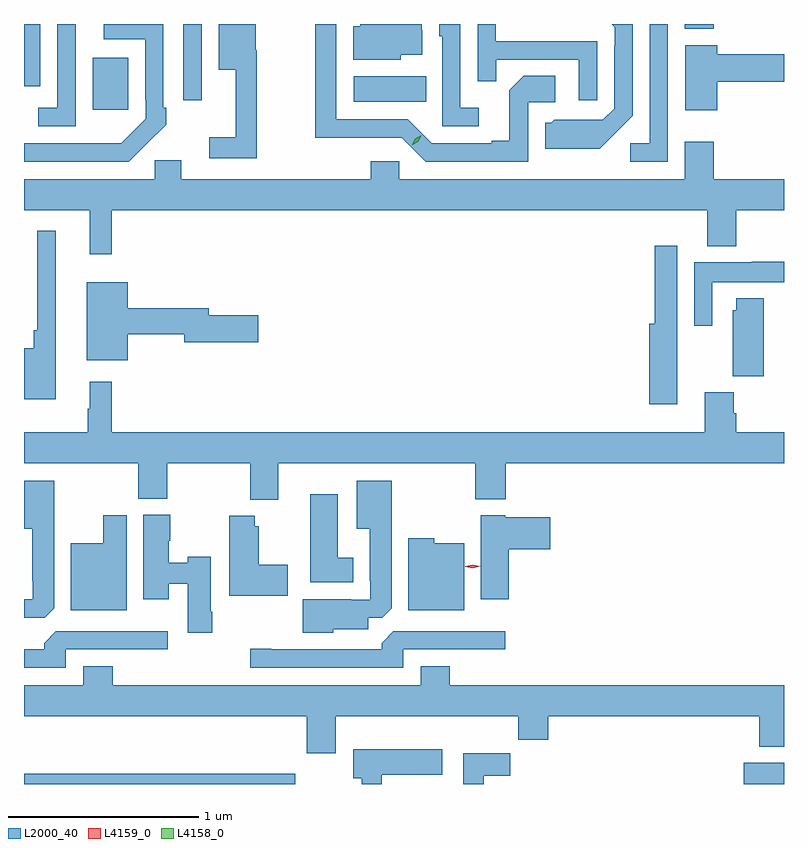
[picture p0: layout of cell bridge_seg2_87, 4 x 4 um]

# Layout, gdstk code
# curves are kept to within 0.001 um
import gdstk
lib = gdstk.Library(unit=1e-6, precision=1e-09)
def R(c, l, rs):  # rectangles x0, y0, x1, y1
    for r in rs: c.add(gdstk.rectangle(r[:2], r[2:], *l))
def P(c, l, *ps):  # polygons
    for p in ps: c.add(gdstk.Polygon(p, *l))
L2000_40 = (2000, 40)
L4158_0 = (4158, 0)
L4159_0 = (4159, 0)

bridge_seg2_87 = lib.new_cell('bridge_seg2_87')
R(bridge_seg2_87, L2000_40, [(324.118,651.276,325.546,651.331), (327.905,651.276,328.118,651.388), (324.479,654.825,324.667,655.099), (325.854,654.866,326.234,655), (324.957,654.876,325.053,655.276), (327.596,655.25,327.749,655.276), (326.69,655.274,327.11,655.276)])
P(bridge_seg2_87, L2000_40, [(327.229,654.701),(327.321,654.794),(327.321,655.276),(327.212,655.276),(327.228,655.26),(327.228,655.16),(327.225,655.16),(327.225,654.831),(327.165,654.771),(326.908,654.772),(326.892,654.756),(326.861,654.756),(326.861,654.62),(327.149,654.62)],
  [(326.512,654.835),(326.415,654.835),(326.415,655.276),(326.304,655.276),(326.304,655.212),(326.319,655.212),(326.319,654.738),(326.512,654.738)],
  [(324.761,654.643),(324.762,654.642),(324.867,654.747),(324.867,654.835),(324.852,654.835),(324.852,655.276),(324.537,655.276),(324.537,655.197),(324.756,655.197),(324.756,654.877),(324.759,654.877),(324.759,654.777),(324.631,654.649),(324.118,654.648),(324.118,654.552),(324.67,654.552)],
  [(327.507,655.276),(327.411,655.276),(327.411,654.648),(327.309,654.648),(327.309,654.552),(327.507,654.552)],
  [(326.1,655.115),(326.215,655.115),(326.215,655.244),(326.211,655.244),(326.211,655.276),(325.889,655.276),(325.889,655.264),(325.85,655.264),(325.85,655.088),(326.1,655.088)],
  [(327.135,655.185),(326.601,655.185),(326.601,655.276),(326.505,655.276),(326.505,654.976),(326.603,654.976),(326.603,655.089),(327.039,655.089),(327.039,654.876),(327.135,654.876)],
  [(324.39,655.195),(324.391,655.195),(324.391,655.276),(324.294,655.276),(324.294,654.834),(324.192,654.834),(324.192,654.738),(324.39,654.738)],
  [(326.772,654.864),(326.914,654.864),(326.914,655.004),(326.749,655.004),(326.673,654.928),(326.673,654.661),(326.579,654.661),(326.579,654.648),(326.265,654.648),(326.139,654.774),(325.762,654.774),(325.762,655.276),(325.651,655.276),(325.651,654.677),(326.106,654.678),(326.232,654.552),(326.772,654.552)],
  [(324.204,655.202),(324.203,655.202),(324.203,655.276),(324.118,655.276),(324.118,654.948),(324.204,654.948)],
  [(325.342,655.138),(325.338,655.138),(325.338,655.276),(325.142,655.276),(325.142,655.034),(325.232,655.034),(325.232,654.679),(325.092,654.679),(325.092,654.57),(325.342,654.57)],
  [(327.766,654.971),(328.118,654.971),(328.118,655.118),(327.766,655.118),(327.766,655.165),(327.599,655.165),(327.599,654.822),(327.766,654.822)],
  [(324.581,654.296),(327.713,654.296),(327.713,654.107),(327.866,654.107),(327.866,654.296),(328.118,654.296),(328.118,654.46),(327.749,654.46),(327.749,654.655),(327.596,654.655),(327.596,654.46),(326.094,654.46),(326.094,654.553),(325.943,654.553),(325.943,654.46),(324.946,654.46),(324.946,654.558),(324.807,654.558),(324.807,654.46),(324.118,654.46),(324.118,654.296),(324.464,654.296),(324.464,654.063),(324.581,654.063)],
  [(324.286,654.187),(324.189,654.187),(324.189,653.665),(324.169,653.665),(324.169,653.569),(324.118,653.569),(324.118,653.3),(324.286,653.3)],
  [(327.556,653.594),(327.555,653.594),(327.555,654.109),(327.439,654.109),(327.439,653.698),(327.41,653.698),(327.41,653.274),(327.556,653.274)],
  [(327.741,653.918),(328.118,653.918),(328.118,654.025),(327.949,654.025),(327.949,654.022),(327.645,654.022),(327.645,653.688),(327.741,653.688)],
  [(324.664,653.644),(324.962,653.644),(324.962,653.602),(325.351,653.602),(325.351,653.744),(325.09,653.744),(325.09,653.78),(324.664,653.78),(324.664,653.917),(324.449,653.917),(324.449,653.507),(324.664,653.507)],
  [(328.012,653.833),(327.866,653.833),(327.866,653.769),(327.848,653.769),(327.848,653.422),(328.012,653.422)],
  [(325.456,652.964),(326.494,652.964),(326.494,652.775),(326.654,652.775),(326.654,652.964),(328.118,652.964),(328.118,653.128),(327.866,653.128),(327.866,653.228),(327.853,653.228),(327.853,653.337),(327.701,653.337),(327.701,653.128),(324.581,653.128),(324.581,653.392),(324.464,653.392),(324.464,653.252),(324.453,653.252),(324.453,653.128),(324.118,653.128),(324.118,652.964),(324.718,652.964),(324.718,652.777),(324.873,652.777),(324.873,652.964),(325.309,652.964),(325.309,652.772),(325.456,652.772)],
  [(324.277,652.201),(324.277,652.873),(324.118,652.873),(324.118,652.619),(324.161,652.619),(324.161,652.345),(324.165,652.345),(324.165,652.248),(324.118,652.248),(324.118,652.152),(324.228,652.152)],
  [(325.746,652.091),(325.93,652.091),(325.93,652.152),(326.004,652.152),(326.053,652.201),(326.053,652.873),(325.868,652.873),(325.868,652.619),(325.937,652.619),(325.937,652.345),(325.941,652.345),(325.941,652.245),(325.841,652.245),(325.841,652.249),(325.586,652.249),(325.586,652.073),(325.746,652.073)],
  [(325.852,652.468),(325.768,652.468),(325.768,652.801),(325.625,652.801),(325.625,652.337),(325.852,652.337)],
  [(325.11,652.183),(325.102,652.183),(325.102,652.472),(324.98,652.472),(324.98,652.441),(324.88,652.441),(324.88,652.555),(324.888,652.555),(324.888,652.692),(324.746,652.692),(324.746,652.248),(324.88,652.248),(324.88,652.33),(324.98,652.33),(324.98,652.071),(325.11,652.071)],
  [(326.669,652.511),(326.887,652.511),(326.887,652.681),(326.652,652.681),(326.652,652.69),(326.522,652.69),(326.522,652.248),(326.669,652.248)],
  [(324.658,652.69),(324.536,652.69),(324.536,652.543),(324.365,652.543),(324.365,652.19),(324.658,652.19)],
  [(325.507,652.431),(325.354,652.431),(325.354,652.633),(325.332,652.633),(325.332,652.687),(325.199,652.687),(325.199,652.268),(325.507,652.268)],
  [(326.434,652.543),(326.277,652.543),(326.277,652.57),(326.141,652.57),(326.141,652.19),(326.434,652.19)],
  [(324.339,651.984),(324.874,651.984),(324.874,652.08),(324.285,652.08),(324.224,652.018),(324.224,651.984),(324.118,651.984),(324.118,651.888),(324.339,651.888)],
  [(326.115,651.984),(326.65,651.984),(326.65,652.08),(326.061,652.08),(326,652.018),(326,651.984),(325.42,651.984),(325.42,651.989),(325.308,651.989),(325.308,651.888),(326.115,651.888)],
  [(325.759,651.632),(326.719,651.632),(326.719,651.508),(326.876,651.508),(326.876,651.632),(327.989,651.632),(327.989,651.473),(328.118,651.473),(328.118,651.796),(326.36,651.796),(326.36,651.895),(326.207,651.895),(326.207,651.796),(324.584,651.796),(324.584,651.895),(324.431,651.895),(324.431,651.796),(324.118,651.796),(324.118,651.632),(325.607,651.632),(325.607,651.438),(325.759,651.438)],
  [(326.002,651.326),(326.32,651.326),(326.32,651.46),(325.85,651.46),(325.85,651.306),(325.895,651.306),(325.895,651.276),(326.002,651.276)],
  [(326.539,651.32),(326.678,651.32),(326.678,651.439),(326.429,651.439),(326.429,651.276),(326.539,651.276)])
P(bridge_seg2_87, L4158_0, [(326.16,654.638),(326.16,654.638),(326.178,654.671),(326.21,654.69),(326.21,654.69),(326.21,654.689),(326.192,654.657),(326.16,654.638)])
P(bridge_seg2_87, L4159_0, [(326.479,652.412),(326.441,652.42),(326.44,652.421),(326.441,652.421),(326.479,652.431),(326.518,652.422),(326.518,652.422),(326.518,652.422)])

lib.write_gds('bridge_seg2_87.gds')
